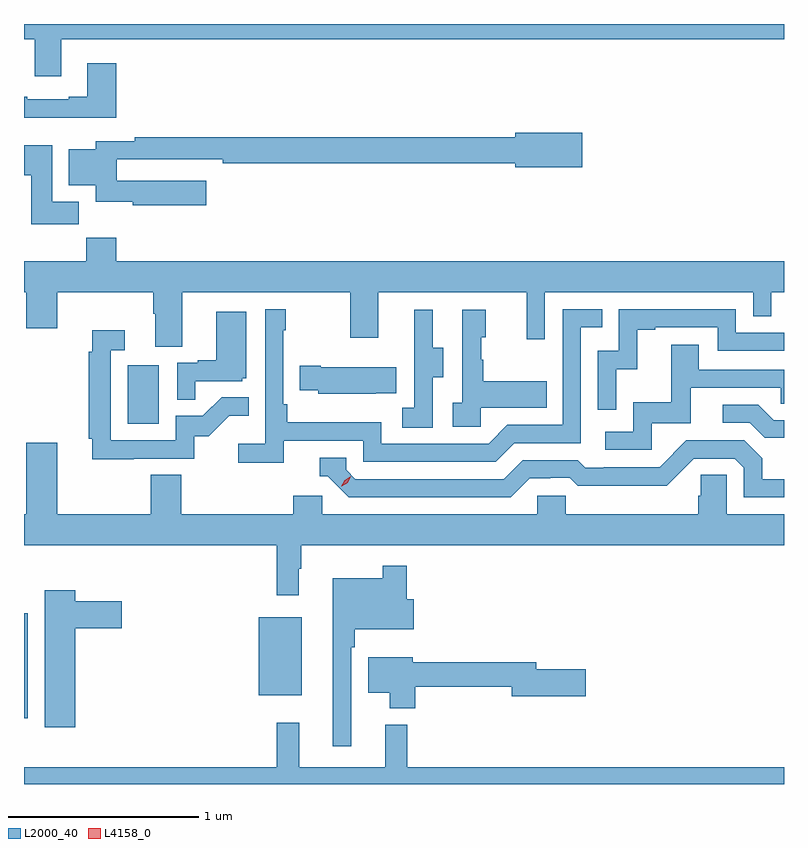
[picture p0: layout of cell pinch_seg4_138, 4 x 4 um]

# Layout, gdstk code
import gdstk
lib = gdstk.Library(unit=1e-6, precision=1e-09)
def R(c, l, rs):  # rectangles x0, y0, x1, y1
    for r in rs: c.add(gdstk.rectangle(r[:2], r[2:], *l))
def P(c, l, *ps):  # polygons
    for p in ps: c.add(gdstk.Polygon(p, *l))
L2000_40 = (2000, 40)
L4158_0 = (4158, 0)

pinch_seg4_138 = lib.new_cell('pinch_seg4_138')
R(pinch_seg4_138, L2000_40, [(1124.037,809.23,1124.058,809.782), (1125.272,809.351,1125.499,809.761), (1124.582,810.78,1124.746,811.087)])
P(pinch_seg4_138, L2000_40, [(1124.233,812.804),(1128.037,812.804),(1128.037,812.884),(1124.037,812.884),(1124.037,812.804),(1124.093,812.804),(1124.093,812.61),(1124.233,812.61)],
  [(1124.522,812.677),(1124.369,812.677),(1124.369,812.5),(1124.273,812.5),(1124.273,812.487),(1124.053,812.487),(1124.053,812.5),(1124.037,812.5),(1124.037,812.39),(1124.522,812.39)],
  [(1124.995,812.059),(1124.524,812.059),(1124.524,812.172),(1125.082,812.172),(1125.082,812.152),(1126.622,812.152),(1126.622,812.129),(1126.975,812.129),(1126.975,812.312),(1126.622,812.312),(1126.622,812.288),(1124.62,812.288),(1124.62,812.268),(1124.414,812.268),(1124.414,812.224),(1124.273,812.224),(1124.273,812.036),(1124.414,812.036),(1124.414,811.949),(1124.61,811.949),(1124.61,811.93),(1124.995,811.93)],
  [(1124.324,811.948),(1124.185,811.948),(1124.185,812.245),(1124.037,812.245),(1124.037,812.089),(1124.075,812.089),(1124.075,811.83),(1124.324,811.83)],
  [(1124.869,811.472),(1125.754,811.472),(1125.754,811.233),(1125.901,811.233),(1125.901,811.472),(1126.682,811.472),(1126.682,811.224),(1126.779,811.224),(1126.779,811.472),(1127.874,811.472),(1127.874,811.345),(1127.97,811.345),(1127.97,811.472),(1128.037,811.472),(1128.037,811.636),(1124.522,811.636),(1124.522,811.76),(1124.365,811.76),(1124.365,811.636),(1124.037,811.636),(1124.037,811.472),(1124.048,811.472),(1124.048,811.284),(1124.212,811.284),(1124.212,811.472),(1124.717,811.472),(1124.717,811.36),(1124.729,811.36),(1124.729,811.186),(1124.869,811.186)],
  [(1125.404,810.69),(1125.822,810.69),(1125.822,810.579),(1126.519,810.579),(1126.618,810.678),(1126.968,810.678),(1126.968,811.287),(1127.081,811.287),(1127.081,811.383),(1126.872,811.383),(1126.872,810.774),(1126.581,810.774),(1126.482,810.675),(1125.918,810.675),(1125.918,810.787),(1125.422,810.787),(1125.422,810.883),(1125.402,810.883),(1125.402,811.271),(1125.415,811.271),(1125.415,811.384),(1125.306,811.384),(1125.306,810.676),(1125.165,810.676),(1125.165,810.574),(1125.404,810.574)],
  [(1127.154,811.067),(1127.264,811.067),(1127.264,811.275),(1127.359,811.275),(1127.359,811.287),(1127.688,811.287),(1127.688,811.164),(1128.037,811.164),(1128.037,811.26),(1127.784,811.26),(1127.784,811.383),(1127.166,811.383),(1127.166,811.164),(1127.058,811.164),(1127.058,810.855),(1127.154,810.855)],
  [(1126.44,810.863),(1126.787,810.863),(1126.787,811.003),(1126.453,811.003),(1126.453,811.118),(1126.443,811.118),(1126.443,811.236),(1126.468,811.236),(1126.468,811.381),(1126.344,811.381),(1126.344,810.89),(1126.293,810.89),(1126.293,810.765),(1126.44,810.765)],
  [(1126.188,811.024),(1126.243,811.024),(1126.243,811.179),(1126.189,811.179),(1126.189,811.381),(1126.091,811.381),(1126.091,811.167),(1126.092,811.167),(1126.092,810.863),(1126.029,810.863),(1126.029,810.76),(1126.188,810.76)],
  [(1124.939,811.005),(1125.186,811.005),(1125.186,811.02),(1125.208,811.02),(1125.208,811.369),(1125.05,811.369),(1125.05,811.114),(1124.951,811.114),(1124.951,811.101),(1124.844,811.101),(1124.844,810.907),(1124.939,810.907)],
  [(1124.615,810.597),(1124.934,810.597),(1124.934,810.714),(1125.01,810.714),(1125.117,810.821),(1125.221,810.821),(1125.221,810.92),(1125.077,810.92),(1124.979,810.822),(1124.835,810.822),(1124.835,810.693),(1124.493,810.693),(1124.493,811.167),(1124.566,811.167),(1124.566,811.273),(1124.396,811.273),(1124.396,811.16),(1124.377,811.16),(1124.377,810.7),(1124.396,810.7),(1124.396,810.592),(1124.615,810.592)],
  [(1127.34,810.783),(1127.545,810.783),(1127.545,810.969),(1128.019,810.969),(1128.019,810.885),(1128.037,810.885),(1128.037,811.065),(1127.587,811.065),(1127.587,811.195),(1127.443,811.195),(1127.443,810.892),(1127.244,810.892),(1127.244,810.738),(1127.097,810.738),(1127.097,810.642),(1127.34,810.642)],
  [(1125.887,810.941),(1125.995,810.941),(1125.995,811.078),(1125.598,811.078),(1125.598,811.086),(1125.487,811.086),(1125.487,810.956),(1125.585,810.956),(1125.585,810.938),(1125.887,810.938)],
  [(1128.037,810.798),(1127.983,810.798),(1127.902,810.879),(1127.715,810.879),(1127.715,810.786),(1127.856,810.786),(1127.936,810.706),(1128.037,810.706)],
  [(1126.699,810.492),(1126.806,810.492),(1126.806,810.495),(1126.909,810.495),(1126.951,810.453),(1127.184,810.453),(1127.184,810.455),(1127.42,810.455),(1127.562,810.597),(1127.778,810.597),(1127.826,810.549),(1127.826,810.393),(1128.037,810.393),(1128.037,810.489),(1127.923,810.489),(1127.923,810.599),(1127.829,810.693),(1127.523,810.693),(1127.382,810.552),(1127.089,810.552),(1127.089,810.549),(1126.99,810.549),(1126.951,810.588),(1126.662,810.588),(1126.563,810.489),(1125.78,810.489),(1125.732,810.537),(1125.732,810.6),(1125.593,810.6),(1125.593,810.504),(1125.636,810.504),(1125.747,810.393),(1126.6,810.393)],
  [(1125.484,810.017),(1125.496,810.017),(1125.496,810.14),(1128.037,810.14),(1128.037,810.304),(1127.736,810.304),(1127.736,810.512),(1127.599,810.512),(1127.599,810.402),(1127.585,810.402),(1127.585,810.304),(1126.887,810.304),(1126.887,810.402),(1126.737,810.402),(1126.737,810.304),(1125.606,810.304),(1125.606,810.402),(1125.455,810.402),(1125.455,810.304),(1124.864,810.304),(1124.864,810.512),(1124.704,810.512),(1124.704,810.304),(1124.212,810.304),(1124.212,810.679),(1124.048,810.679),(1124.048,810.304),(1124.037,810.304),(1124.037,810.14),(1125.367,810.14),(1125.367,809.877),(1125.484,809.877)],
  [(1125.759,809.603),(1125.779,809.603),(1125.779,809.699),(1126.087,809.699),(1126.087,809.857),(1126.052,809.857),(1126.052,810.034),(1125.924,810.034),(1125.924,809.968),(1125.662,809.968),(1125.662,809.082),(1125.759,809.082)],
  [(1124.308,809.705),(1124.551,809.705),(1124.551,809.847),(1124.308,809.847),(1124.308,809.905),(1124.147,809.905),(1124.147,809.184),(1124.308,809.184)],
  [(1126.097,809.397),(1126.604,809.397),(1126.604,809.347),(1126.993,809.347),(1126.993,809.489),(1126.732,809.489),(1126.732,809.525),(1126.084,809.525),(1126.084,809.551),(1125.848,809.551),(1125.848,809.363),(1125.962,809.363),(1125.962,809.282),(1126.097,809.282)],
  [(1128.037,808.972),(1126.055,808.972),(1126.055,809.197),(1125.938,809.197),(1125.938,808.972),(1125.485,808.972),(1125.485,809.206),(1125.367,809.206),(1125.367,808.972),(1124.037,808.972),(1124.037,808.884),(1128.037,808.884)])
P(pinch_seg4_138, L4158_0, [(1125.708,810.451),(1125.708,810.451),(1125.725,810.484),(1125.756,810.503),(1125.756,810.503),(1125.756,810.503),(1125.74,810.47),(1125.709,810.451)])

lib.write_gds('pinch_seg4_138.gds')
